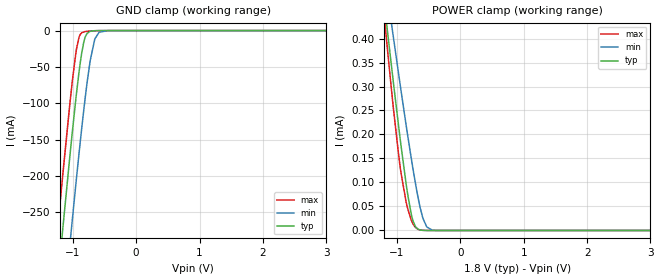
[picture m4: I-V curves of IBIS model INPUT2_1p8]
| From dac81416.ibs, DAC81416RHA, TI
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|   INPUT2_1p8 Model
[Model]   INPUT2_1p8
Model_type   Input
Vinl = 0.54
Vinh = 1.26
|   typ   min   max
C_comp   2.146E-13  2.146E-13   2.185E-13
|  Where Nom  PVT is Nominal Process, 1.8V,  25C
|   Fast PVT is Strong Process,  1.95, -40C
|   Slow PVT is Weak Process,   1.65V, 125C
[Model spec]
|subparameter
Vinl   0.54   0.495   0.585
Vinh   1.26   1.155   1.365
[Voltage Range]   1.8   1.65   1.95
|Junction Temperature
[Temperature Range]   25   125   -40
[Power Clamp Reference]   1.8   1.65   1.95
[GND Clamp Reference]   0   0   0
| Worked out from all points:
|   GND clamp passes 1 mA (typ) near -0.73 V on its own axis
[GND Clamp]
|   Voltage   I(typ)   I(min)   I(max)
-1.8V     -883.9mA   -1.006A    -811.4mA
-1.427V   -524.7mA   -648.1mA   -450.7mA
-1.201V   -311.4mA   -435mA     -236.9mA
-1.174V   -286.5mA   -410mA     -212.2mA
-1.044V   -170.3mA   -292.1mA   -98.33mA
-1.006V   -138mA     -258.5mA   -68.15mA
-941.4mV  -85.61mA   -202.1mA   -24.93mA
-860.4mV  -31.15mA   -135mA     -3.103mA
-801mV    -8.153mA   -89.7mA    -1.349mA
-725.4mV  -937uA     -41.08mA   -618.4uA
-585mV    -41.18uA   -2.277mA   -66.82uA
3.6V      0A         0A         0A
[POWER Clamp]
|   Voltage   I(typ)   I(min)   I(max)
-1.8V     1.192mA    1.122mA    1.318mA
-1.211V   485.8uA    548.7uA    461uA
-1.152V   416.7uA    492.1uA    379.1uA
-1.06V    311.7uA    405.5uA    258uA
-936mV    176uA      290.8uA    119.1uA
-855mV    96.02uA    218.5uA    58.44uA
-779.4mV  36.64uA    153.9uA    23.06uA
-671.4mV  2.969uA    71.1uA     2.673uA
-595.8mV  374.2nA    27.52uA    346.6nA
-531mV    58.4nA     7.465uA    41.21nA
-433.8mV  761.5pA    547.8nA    0A
3.6V      0A         0A         0A
